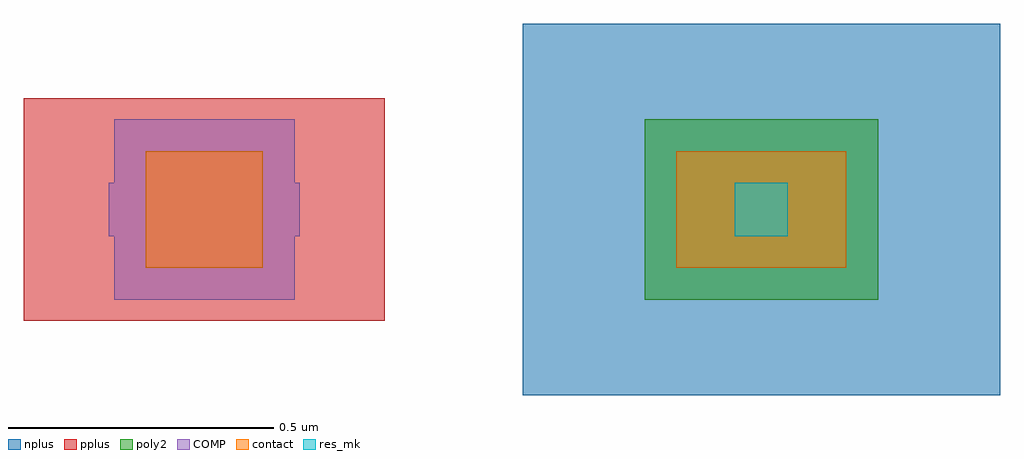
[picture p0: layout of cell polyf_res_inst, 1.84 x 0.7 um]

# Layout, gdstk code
import gdstk
lib = gdstk.Library(unit=1e-6, precision=1e-09)
def R(c, l, rs):  # rectangles x0, y0, x1, y1
    for r in rs: c.add(gdstk.rectangle(r[:2], r[2:], *l))
COMP = (22, 0)
poly2 = (30, 0)
pplus = (31, 0)
nplus = (32, 0)
contact = (33, 0)
res_mk = (110, 5)

compass_43289b1a = lib.new_cell('compass_43289b1a')
R(compass_43289b1a, res_mk, [(-0.05,-0.05,0.05,0.05)])

rectangle_43289b1a = lib.new_cell('rectangle_43289b1a')
rectangle_43289b1a.add(gdstk.Reference(compass_43289b1a, (0.05,0.05)))

compass_9fe6612f = lib.new_cell('compass_9fe6612f')
R(compass_9fe6612f, poly2, [(-0.15,-0.05,0.15,0.05)])

rectangle_9fe6612f = lib.new_cell('rectangle_9fe6612f')
rectangle_9fe6612f.add(gdstk.Reference(compass_9fe6612f, (0.15,0.05)))

compass_f38dc993 = lib.new_cell('compass_f38dc993')
R(compass_f38dc993, contact, [(-0.11,-0.11,0.11,0.11)])

rectangle_f38dc993 = lib.new_cell('rectangle_f38dc993')
rectangle_f38dc993.add(gdstk.Reference(compass_f38dc993, (0.11,0.11)))

via_generator_00b8456f = lib.new_cell('via_generator_00b8456f')
r = gdstk.Reference(rectangle_f38dc993, (-0.11,-0.06)); r.repetition = gdstk.Repetition(1, 1, v1=(0.5,0), v2=(0,0.5)); via_generator_00b8456f.add(r)

compass_c6da174f = lib.new_cell('compass_c6da174f')
R(compass_c6da174f, poly2, [(-0.17,-0.17,0.17,0.17)])

rectangle_c6da174f = lib.new_cell('rectangle_c6da174f')
rectangle_c6da174f.add(gdstk.Reference(compass_c6da174f, (0.17,0.17)))

via_stack_7a4b11fc = lib.new_cell('via_stack_7a4b11fc')
via_stack_7a4b11fc.add(gdstk.Reference(via_generator_00b8456f, (0,0)))
via_stack_7a4b11fc.add(gdstk.Reference(rectangle_c6da174f, (-0.17,-0.12)))

compass_d3c20798 = lib.new_cell('compass_d3c20798')
R(compass_d3c20798, nplus, [(-0.45,-0.35,0.45,0.35)])

rectangle_d3c20798 = lib.new_cell('rectangle_d3c20798')
rectangle_d3c20798.add(gdstk.Reference(compass_d3c20798, (0.45,0.35)))

compass_9d2fae97 = lib.new_cell('compass_9d2fae97')
R(compass_9d2fae97, COMP, [(-0.18,-0.05,0.18,0.05)])

rectangle_9d2fae97 = lib.new_cell('rectangle_9d2fae97')
rectangle_9d2fae97.add(gdstk.Reference(compass_9d2fae97, (0.18,0.05)))

via_generator_6a2c0181 = lib.new_cell('via_generator_6a2c0181')
r = gdstk.Reference(rectangle_f38dc993, (-1.11,-0.06)); r.repetition = gdstk.Repetition(1, 1, v1=(0.5,0), v2=(0,0.5)); via_generator_6a2c0181.add(r)

compass_9deecdff = lib.new_cell('compass_9deecdff')
R(compass_9deecdff, COMP, [(-0.17,-0.17,0.17,0.17)])

rectangle_9deecdff = lib.new_cell('rectangle_9deecdff')
rectangle_9deecdff.add(gdstk.Reference(compass_9deecdff, (0.17,0.17)))

via_stack_d8236a94 = lib.new_cell('via_stack_d8236a94')
via_stack_d8236a94.add(gdstk.Reference(via_generator_6a2c0181, (0,0)))
via_stack_d8236a94.add(gdstk.Reference(rectangle_9deecdff, (-1.17,-0.12)))

compass_9956ceea = lib.new_cell('compass_9956ceea')
R(compass_9956ceea, pplus, [(-0.34,-0.21,0.34,0.21)])

rectangle_9956ceea = lib.new_cell('rectangle_9956ceea')
rectangle_9956ceea.add(gdstk.Reference(compass_9956ceea, (0.34,0.21)))

polyf_res_inst = lib.new_cell('polyf_res_inst')
polyf_res_inst.add(gdstk.Reference(rectangle_43289b1a, (0,0)))
polyf_res_inst.add(gdstk.Reference(rectangle_9fe6612f, (-0.1,0)))
r = gdstk.Reference(via_stack_7a4b11fc, (0,0)); r.repetition = gdstk.Repetition(2, 1, v1=(0.1,0), v2=(0,1)); polyf_res_inst.add(r)
polyf_res_inst.add(gdstk.Reference(rectangle_d3c20798, (-0.4,-0.3)))
polyf_res_inst.add(gdstk.Reference(rectangle_9d2fae97, (-1.18,0)))
polyf_res_inst.add(gdstk.Reference(via_stack_d8236a94, (0,0)))
polyf_res_inst.add(gdstk.Reference(rectangle_9956ceea, (-1.34,-0.16)))

lib.write_gds('polyf_res_inst.gds')
